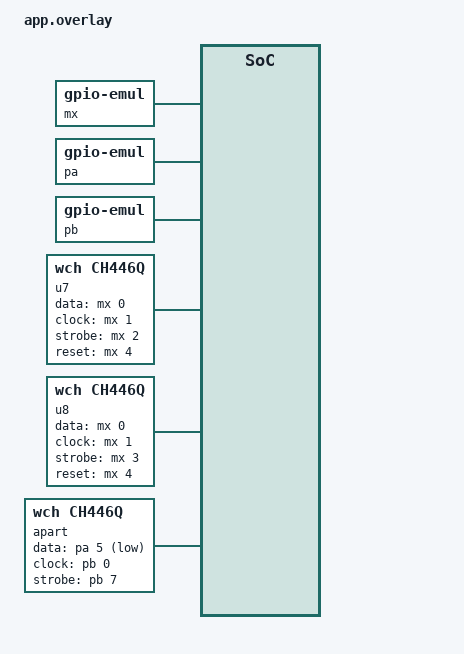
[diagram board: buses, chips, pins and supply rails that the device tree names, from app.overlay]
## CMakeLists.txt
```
# SPDX-License-Identifier: Apache-2.0
#
# The CH446Q MUX driver (drivers/mux/mux_wch_ch446q.c) on native_sim: two
# chips on one emulated 8-pin expander (gpio_emul), as on the DATA x4 v2,
# and one on lines spread over two ports; each chip is emulated from the
# lines it sees.

cmake_minimum_required(VERSION 3.20.0)

list(APPEND ZEPHYR_EXTRA_MODULES ${CMAKE_CURRENT_SOURCE_DIR}/../../../..)

find_package(Zephyr REQUIRED HINTS $ENV{ZEPHYR_BASE})
project(ch446q)

target_sources(app PRIVATE src/main.c)
```

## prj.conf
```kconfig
CONFIG_ZTEST=y
CONFIG_GPIO=y
CONFIG_GPIO_EMUL=y
CONFIG_MUX=y
```

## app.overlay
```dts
/*
 * mx: the DATA x4 v2's TCA9534A as 8 emulated pins (P0 DAT, P1 CK, P2 U7's
 * STB, P3 U8's STB, P4 RST); u7 and u8 share data, clock and reset.  apart:
 * a third chip with its data line on one port (inverted on the way, active
 * low) and its clock and strobe on another, written line by line, no reset.
 *
 * SPDX-License-Identifier: Apache-2.0
 */

#include <zephyr/dt-bindings/gpio/gpio.h>

/ {
	mx: gpio-mx {
		compatible = "zephyr,gpio-emul";
		gpio-controller;
		#gpio-cells = <2>;
		ngpios = <8>;
		rising-edge;
		falling-edge;
		high-level;
		low-level;
	};

	pa: gpio-pa {
		compatible = "zephyr,gpio-emul";
		gpio-controller;
		#gpio-cells = <2>;
		ngpios = <8>;
		rising-edge;
		falling-edge;
		high-level;
		low-level;
	};

	pb: gpio-pb {
		compatible = "zephyr,gpio-emul";
		gpio-controller;
		#gpio-cells = <2>;
		ngpios = <8>;
		rising-edge;
		falling-edge;
		high-level;
		low-level;
	};

	u7: crosspoint-u7 {
		compatible = "wch,ch446q";
		data-gpios = <&mx 0 GPIO_ACTIVE_HIGH>;
		clock-gpios = <&mx 1 GPIO_ACTIVE_HIGH>;
		strobe-gpios = <&mx 2 GPIO_ACTIVE_HIGH>;
		reset-gpios = <&mx 4 GPIO_ACTIVE_HIGH>;
		#mux-control-cells = <1>;
		#mux-state-cells = <2>;
	};

	u8: crosspoint-u8 {
		compatible = "wch,ch446q";
		data-gpios = <&mx 0 GPIO_ACTIVE_HIGH>;
		clock-gpios = <&mx 1 GPIO_ACTIVE_HIGH>;
		strobe-gpios = <&mx 3 GPIO_ACTIVE_HIGH>;
		reset-gpios = <&mx 4 GPIO_ACTIVE_HIGH>;
		#mux-control-cells = <1>;
		#mux-state-cells = <2>;
	};

	apart: crosspoint-apart {
		compatible = "wch,ch446q";
		data-gpios = <&pa 5 GPIO_ACTIVE_LOW>;
		clock-gpios = <&pb 0 GPIO_ACTIVE_HIGH>;
		strobe-gpios = <&pb 7 GPIO_ACTIVE_HIGH>;
		#mux-control-cells = <1>;
		#mux-state-cells = <2>;
	};

	/* Port 1's P1 and P2 on U7 (X15, X7), port 3's P1 on U8 (X15), as the DATA x4 v2 */
	pins: pins {
		compatible = "vnd,mux-consumer-test";
		mux-controls = <&u7 15>, <&u7 7>, <&u8 15>;
		mux-control-names = "p1-1", "p1-2", "p3-1";
		mux-states = <&u7 15 0x09>;
	};
};
```

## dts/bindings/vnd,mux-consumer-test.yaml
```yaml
# SPDX-License-Identifier: Apache-2.0

description: A MUX consumer, for the test

compatible: "vnd,mux-consumer-test"

include: [base.yaml, mux-consumer.yaml]
```

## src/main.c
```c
/*
 * The CH446Q MUX driver against emulated chips: each one follows the lines
 * it sees on gpio_emul (address bits on CK's rising edges, AY2 first, the
 * switch state on DAT latched by STB's falling edge, RST high opens every
 * switch), as the datasheet describes it, and counts what the datasheet
 * forbids (DAT changing with a clock edge or during STB).  Port writes and
 * reset pulses are counted too.
 *
 * SPDX-License-Identifier: Apache-2.0
 */

#include <string.h>

#include <zephyr/drivers/gpio.h>
#include <zephyr/drivers/gpio/gpio_emul.h>
#include <zephyr/drivers/mux.h>
#include <zephyr/kernel.h>
#include <zephyr/ztest.h>

#define NUM_X 16
#define NUM_Y 8

#define CHIP_LINES(node)                                                                           \
	.data = GPIO_DT_SPEC_GET(node, data_gpios), .clock = GPIO_DT_SPEC_GET(node, clock_gpios),  \
	.strobe = GPIO_DT_SPEC_GET(node, strobe_gpios),                                            \
	.reset = GPIO_DT_SPEC_GET_OR(node, reset_gpios, {0})

/* A chip as its pins see the lines (an inverted line arrives inverted back) */
struct chip {
	struct gpio_dt_spec data, clock, strobe, reset;
	bool data_was, clock_was, strobe_was, reset_was;
	bool data_strobe; /* DAT when STB rose */
	uint8_t shift;
	uint8_t y_mask[NUM_X];
	int faults;
	int resets;
};

static struct chip chips[] = {
	{CHIP_LINES(DT_NODELABEL(u7))},
	{CHIP_LINES(DT_NODELABEL(u8))},
	{CHIP_LINES(DT_NODELABEL(apart))},
};
static struct chip *const u7_chip = &chips[0];
static struct chip *const u8_chip = &chips[1];
static struct chip *const apart_chip = &chips[2];

static const struct device *const u7 = DEVICE_DT_GET(DT_NODELABEL(u7));
static const struct device *const u8 = DEVICE_DT_GET(DT_NODELABEL(u8));
static const struct device *const apart = DEVICE_DT_GET(DT_NODELABEL(apart));

static const struct device *const ports[] = {
	DEVICE_DT_GET(DT_NODELABEL(mx)),
	DEVICE_DT_GET(DT_NODELABEL(pa)),
	DEVICE_DT_GET(DT_NODELABEL(pb)),
};
static struct gpio_callback cbs[ARRAY_SIZE(ports)];
static int writes[ARRAY_SIZE(ports)];

#define PINS DT_NODELABEL(pins)
MUX_CONTROL_DT_SPEC_DEFINE_BY_NAME(PINS, p1_1);
MUX_CONTROL_DT_SPEC_DEFINE_BY_NAME(PINS, p1_2);
MUX_CONTROL_DT_SPEC_DEFINE_BY_NAME(PINS, p3_1);
MUX_STATE_DT_SPEC_DEFINE(PINS);

static bool level(const struct gpio_dt_spec *spec)
{
	return (gpio_emul_output_get(spec->port, spec->pin) > 0) !=
	       ((spec->dt_flags & GPIO_ACTIVE_LOW) != 0);
}

static void chip_update(struct chip *c)
{
	bool data = level(&c->data), clock = level(&c->clock), strobe = level(&c->strobe);
	bool reset = c->reset.port != NULL && level(&c->reset);

	if (reset) {
		c->resets += !c->reset_was;
		memset(c->y_mask, 0, sizeof(c->y_mask));
	} else {
		if (clock && !c->clock_was) {
			c->faults += data != c->data_was || c->strobe_was;
			c->shift = ((c->shift << 1) | data) & 0x7F;
		}
		if (strobe && !c->strobe_was) {
			/* DAT set up before STB rises (TDS), not with it */
			c->faults += data != c->data_was;
			c->data_strobe = data;
		} else if (strobe && data != c->data_strobe) {
			c->faults++; /* DAT must hold until STB falls */
		}
		if (!strobe && c->strobe_was) {
			/* Address y * 16 + x */
			WRITE_BIT(c->y_mask[c->shift & 0x0F], c->shift >> 4, c->data_strobe);
		}
	}
	c->data_was = data;
	c->clock_was = clock;
	c->strobe_was = strobe;
	c->reset_was = reset;
}

static void on_write(const struct device *port, struct gpio_callback *cb, gpio_port_pins_t pins)
{
	ARG_UNUSED(cb);
	ARG_UNUSED(pins);

	for (size_t i = 0; i < ARRAY_SIZE(ports); i++) {
		writes[i] += ports[i] == port;
	}
	ARRAY_FOR_EACH_PTR(chips, c) {
		chip_update(c);
	}
}

static void *setup(void)
{
	zassert_true(device_is_ready(u7) && device_is_ready(u8) && device_is_ready(apart));
	for (size_t i = 0; i < ARRAY_SIZE(ports); i++) {
		gpio_init_callback(&cbs[i], on_write, BIT_MASK(8));
		zassert_ok(gpio_add_callback(ports[i], &cbs[i]));
	}
	return NULL;
}

/* X's control line, built at run time */
#define X_CONTROL(name, x)                                                                         \
	const uint32_t name##_cell = (x);                                                          \
	const struct mux_control name = {.cells = &name##_cell, .len = 1}

/* The chip and the driver agree on every X; nothing forbidden was seen */
static void check_chip(const struct device *dev, const struct chip *c)
{
	uint32_t state;

	for (uint8_t x = 0; x < NUM_X; x++) {
		X_CONTROL(ctl, x);

		zassert_ok(mux_state_get(dev, &ctl, &state));
		zassert_equal(state, c->y_mask[x], "%s X%u: driver 0x%02x, chip 0x%02x", dev->name,
			      x, state, c->y_mask[x]);
	}
	zassert_equal(c->faults, 0, "%s: %d timing faults", dev->name, c->faults);
}

ZTEST(ch446q, test_1_set)
{
	const struct mux_control *p1_1 = MUX_CONTROL_DT_GET_BY_NAME(PINS, p1_1);
	X_CONTROL(x4, 4);
	uint32_t state;
	int before;

	/* The datasheet's example: Y2-X4, address 24H */
	zassert_ok(mux_control_set(u7, &x4, BIT(2)));
	zassert_equal(u7_chip->y_mask[4], BIT(2));
	zassert_equal(u8_chip->y_mask[4], 0, "U8 saw the address but not its strobe");

	/*
	 * One switch more: 16 port writes (gpio_emul reports a port write when it
	 * changes a line; after a switch CK is high, so each of them does)
	 */
	before = writes[0];
	zassert_ok(mux_control_set(u7, &x4, BIT(2) | BIT(7)));
	zassert_equal(writes[0] - before, 17, "%d port writes for one switch", writes[0] - before);
	zassert_ok(mux_state_get(u7, &x4, &state));
	zassert_equal(state, BIT(2) | BIT(7));

	/* The same mask again: nothing to write */
	before = writes[0];
	zassert_ok(mux_control_set(u7, &x4, BIT(2) | BIT(7)));
	zassert_equal(writes[0], before);

	/* By name, from the devicetree: p1-1 (entry 0) is U7's X15 */
	zassert_equal_ptr(MUX_CONTROL_DT_DEV_GET_BY_IDX(PINS, 0), u7);
	zassert_ok(mux_control_set(MUX_CONTROL_DT_DEV_GET_BY_IDX(PINS, 0), p1_1, 0x81));
	zassert_equal(u7_chip->y_mask[15], 0x81);
	check_chip(u7, u7_chip);
	check_chip(u8, u8_chip);
}

ZTEST(ch446q, test_2_disconnect)
{
	const struct mux_control *p1_2 = MUX_CONTROL_DT_GET_BY_NAME(PINS, p1_2);
	const struct mux_control *p3_1 = MUX_CONTROL_DT_GET_BY_NAME(PINS, p3_1);
	int resets = u7_chip->resets;
	int before;

	zassert_ok(mux_control_set(u7, p1_2, 0xFF));
	zassert_ok(mux_control_set(u8, p3_1, 0x3C));

	/* X7 of U7 opens, switch by switch; U8 keeps its switches, RST never moves */
	before = writes[0];
	zassert_ok(mux_control_disconnect(u7, p1_2));
	zassert_equal(writes[0] - before, 8 * 17);
	zassert_equal(u7_chip->y_mask[7], 0);
	zassert_equal(u8_chip->y_mask[15], 0x3C);
	zassert_equal(u7_chip->resets, resets, "disconnect must not pulse the shared reset");
	check_chip(u7, u7_chip);
	check_chip(u8, u8_chip);
}

ZTEST(ch446q, test_3_every_switch)
{
	for (uint8_t x = 0; x < NUM_X; x++) {
		X_CONTROL(ctl, x);

		zassert_ok(mux_control_set(u8, &ctl, 0xFF));
	}
	for (uint8_t x = 0; x < NUM_X; x++) {
		zassert_equal(u8_chip->y_mask[x], 0xFF, "X%u: 0x%02x", x, u8_chip->y_mask[x]);
	}
	/* A different mask on each X: every address and data bit both ways */
	for (uint8_t x = 0; x < NUM_X; x++) {
		X_CONTROL(ctl, x);

		zassert_ok(mux_control_set(u8, &ctl, (x * 37 + 11) & 0xFF));
	}
	check_chip(u8, u8_chip);
}

ZTEST(ch446q, test_4_state_from_devicetree)
{
	const struct mux_state *st = MUX_STATE_DT_GET(PINS);

	zassert_equal(st->state, 0x09);
	zassert_ok(mux_state_apply(MUX_STATE_DT_DEV_GET(PINS), st));
	zassert_equal(u7_chip->y_mask[15], 0x09);
	check_chip(u7, u7_chip);
}

ZTEST(ch446q, test_5_lines_apart)
{
	X_CONTROL(x15, 15);
	X_CONTROL(x0, 0);
	int before_a = writes[1], before_b = writes[2];

	/* The data line on one port, inverted on the way; clock and strobe on another */
	zassert_ok(mux_control_set(apart, &x15, BIT(7)));
	zassert_equal(apart_chip->y_mask[15], BIT(7));
	zassert_equal(writes[1] - before_a, 8, "DAT: 7 address bits and the state");
	zassert_equal(writes[2] - before_b, 16, "CK: 14 writes, STB: 2");
	zassert_ok(mux_control_set(apart, &x0, 0x55));
	check_chip(apart, apart_chip);

	zassert_ok(mux_control_disconnect(apart, &x0));
	zassert_equal(apart_chip->y_mask[0], 0);
	check_chip(apart, apart_chip);
}

ZTEST(ch446q, test_6_errors)
{
	X_CONTROL(x16, 16);
	X_CONTROL(x1, 1);
	const uint32_t two[] = {1, 2};
	const struct mux_control wide = {.cells = two, .len = 2};
	uint32_t state;

	zassert_equal(mux_control_set(u7, &x16, 1), -EINVAL);
	zassert_equal(mux_control_set(u7, &x1, 0x100), -EINVAL);
	zassert_equal(mux_control_set(u7, &wide, 1), -EINVAL);
	zassert_equal(mux_state_get(u7, &x16, &state), -EINVAL);
	zassert_equal(mux_control_disconnect(u7, &wide), -EINVAL);
	check_chip(u7, u7_chip);
}

ZTEST_SUITE(ch446q, NULL, setup, NULL, NULL, NULL);
```
